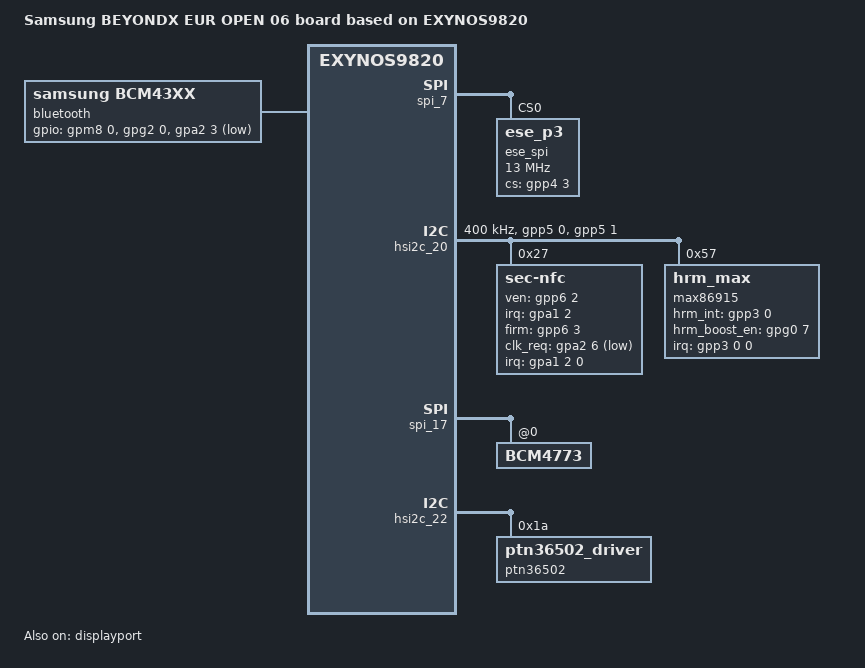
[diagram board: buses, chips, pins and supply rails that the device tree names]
/*
 * SAMSUNG EXYNOS9820 board device tree source
 *
 * Copyright (c) 2018 Samsung Electronics Co., Ltd.
 *		http://www.samsung.com
 *
 * This program is free software; you can redistribute it and/or modify
 * it under the terms of the GNU General Public License version 2 as
 * published by the Free Software Foundation.
*/

/dts-v1/;
/plugin/;
#include "exynos9820-sensorhub.dtsi"
#include "exynos9820-display-lcd.dtsi"
#include "battery_data_beyondxlte_common.dtsi"
#include "exynos9820-beyondx_motor.dtsi"
#include "exynos9820-beyondx_if-pmic-max77705.dtsi"
#include <dt-bindings/clock/exynos9820.h>
#include <dt-bindings/pci/pci.h>
#include "exynos9820-beyondx_camera.dtsi"
#include "exynos9820-beyondx_common.dtsi"
#include "exynos9820-beyondx_fingerprint_04.dtsi"
#include "exynos9820-beyondx_eur_open_gpio_00.dtsi"
#include "exynos9820-beyondlte_kor-tdmb-19.dtsi"
#include "exynos9820-beyondx_optics-r00.dtsi"

/ {
	compatible = "samsung,BEYONDX EUR OPEN 06", "samsung,EXYNOS9820";
	dtbo-hw_rev = <6>;
   	dtbo-hw_rev_end = <6>;

	fragment@model {
		target-path = "/";
		__overlay__ {
			#address-cells = <2>;
			#size-cells = <1>;

			model = "Samsung BEYONDX EUR OPEN 06 board based on EXYNOS9820";
			pinctrl@15850000 {
				bt_hostwake: bt-hostwake {
					samsung,pins = "gpa2-3";
					samsung,pin-function = <0>;
					samsung,pin-pud = <1>;
				};
			};
			pinctrl@10430000 {
				bt_btwake: bt-btwake {
					samsung,pins = "gpg2-0";
					samsung,pin-function = <1>;
					samsung,pin-pud = <0>;
					samsung,pin-con-pdn = <3>;
					samsung,pin-pud-pdn = <0>;
				};
			};
			pinctrl@15C30000 {
				bt_en: bt-en {
					samsung,pins = "gpm8-0";
					samsung,pin-function = <1>;
					samsung,pin-pud = <0>;
					samsung,pin-con-pdn = <3>;
					samsung,pin-pud-pdn = <0>;
				};

				s5100_ap2cp_wakeup: s5100_ap2cp_wakeup {
					samsung,pins = "gpm17-0";
					samsung,pin-con-pdn = <3>;
					samsung,pin-pud = <1>;
				};
			};
			bluetooth {
				compatible = "samsung,bcm43xx";
				gpios = <&gpm8 0 0   /*BT_EN*/
				&gpg2 0 0    /*BT_WAKE*/
				&gpa2 3 0xF    /*BT_HOST_WAKE*/ >;
				pinctrl-names = "default";
				pinctrl-0=<&bt_hostwake &bt_btwake &bt_en>;
				status = "okay";
			};
		}; /* end of __overlay__ */
	}; /* end of fragment */

	fragment@camera {
		target-path = "/";
		__overlay__ {
			/* Ultra Wide CAMERA */
			fimc_is_sensor_3p9: fimc-is_sensor_3p9@2D {
				gpio_mipi_sel = <&gpm9 0 0x1>; /* mipi sw sel */
			};
		}; /* end of __overlay__ */
	}; /* end of fragment */
}; /* end of root */

&pinctrl_6 {
	spi7_bus_suspend: spi7-bus-suspend {
		samsung,pins = "gpp4-2", "gpp4-1", "gpp4-0";
		samsung,pin-function = <0>;	/* INPUT */
		samsung,pin-pud = <1>;		/* DOWN */
		samsung,pin-drv = <0>;
	};
	spi7_cs_suspend: spi7-cs-suspend {
		samsung,pins = "gpp4-3";
		samsung,pin-function = <0>;	/* INPUT */
		samsung,pin-pud = <1>;		/* DOWN */
		samsung,pin-drv = <0>;
	};
};

/* SPI USI_PERIC1_USI06_SPI */
&spi_7 {
	status = "okay";
	/delete-property/ pinctrl-names;
	/delete-property/ pinctrl-0;
	pinctrl-names = "ese_active", "ese_suspend";
	pinctrl-0 = <&spi7_bus &spi7_cs>;
	pinctrl-1 = <&spi7_bus_suspend &spi7_cs_suspend>;

	ese_spi@0 {
		compatible = "ese_p3";
		reg = <0>;
		spi-max-frequency = <13000000>;
		gpio-controller;
		#gpio-cells = <2>;

		p3-vdd-1p8= "VDD_ESE_1P8";

		clocks = <&clock GATE_USI06_USI>, <&clock DOUT_CLK_PERIC1_USI06_USI>;
		clock-names = "pclk", "sclk";
		ese_p3,cs-gpio = <&gpp4 3 0>;

		controller-data {
			samsung,spi-feedback-delay = <0>;
			samsung,spi-chip-select-mode = <0>;
		};
	};
};

&pinctrl_6 {
	nfc_en: nfc-en {
		samsung,pins = "gpp6-2";
		samsung,pin-function = <1>;
		samsung,pin-pud = <0>;
		samsung,pin-con-pdn = <3>;
		samsung,pin-pud-pdn = <0>;
		};

	nfc_firm: nfc-firm {
		samsung,pins = "gpp6-3";
		samsung,pin-function = <1>;
		samsung,pin-pud = <0>;
		samsung,pin-con-pdn = <3>;
		samsung,pin-pud-pdn = <0>;
		};
};

&hsi2c_20 {
	gpios = <&gpp5 0 0 &gpp5 1 0>;
	status = "okay";
	clock-frequency = <400000>;

	sec-nfc@27 {
		compatible = "sec-nfc";
		reg = <0x27>;

		interrupts = <2 0 0>;
		interrupt-parent = <&gpa1>;
		pinctrl-names = "default";
		pinctrl-0 = <&nfc_en &nfc_firm>;

		sec-nfc,ven-gpio = <&gpp6 2 0>;
		sec-nfc,irq-gpio = <&gpa1 2 0>;
		sec-nfc,firm-gpio = <&gpp6 3 0>;
		sec-nfc,clk_req-gpio = <&gpa2 6 0xf>;
		sec-nfc,clk_use = <2>;
		sec-nfc,nfc_pvdd = "VDD_NFC_1P8";

		clocks = <&clock OSC_NFC>;
		clock-names = "oscclk_nfc";
		sec-nfc,nfc_ap_clk;
		sec-nfc,ldo_control;
	};

	max86915@57 {
		compatible = "hrm_max";
		reg = <0x57>;
		interrupt-parent = <&gpp3>;
		interrupts = <0 0 0>;
		pinctrl-names = "default", "sleep", "idle";
		pinctrl-0 = <&hrm_irq &hrm_en>;
		pinctrl-1 = <&hrm_irqsleep &hrm_ensleep>;
		pinctrl-2 = <&hrm_irqidle &hrm_enidle>;
		hrmsensor,hrm_int-gpio = <&gpp3 0 0>;
		hrmsensor,hrm_boost_en-gpio = <&gpg0 7 0>;
		hrmsensor,vdd_1p8 = "S2MPB02_LDO8";
		hrmsensor,i2c_1p8 = "VDD_NFC_1P8";
		hrmsensor,thd = <100000 100000>;
		hrmsensor,init_curr = <0x46 0x41 0x28 0x3c>;
	};
};

&pinctrl_5 {
	hrm_irq: hrm-irq {
		samsung,pins = "gpp3-0";
		samsung,pin-function = <0xf>;
		samsung,pin-pud = <0>;
		samsung,pin-drv = <3>;
	};

	hrm_irqsleep: hrm-irqsleep {
		samsung,pins = "gpp3-0";
		samsung,pin-con-pdn = <2>;
		samsung,pin-pud-pdn = <0>;
	};

	hrm_irqidle: hrm-irqidle {
		samsung,pins = "gpp3-0";
		samsung,pin-function = <0xf>;
		samsung,pin-pud = <0>;
		samsung,pin-drv = <3>;
	};

	hrm_en: hrm-en {
		samsung,pins = "gpg0-7";
		samsung,pin-function = <0>;
		samsung,pin-pud = <1>;
		samsung,pin-drv = <2>;
	};

	hrm_ensleep: hrm-ensleep {
		samsung,pins = "gpg0-7";
		samsung,pin-con-pdn = <2>;
		samsung,pin-pud-pdn = <1>;
	};

	hrm_enidle: hrm-enidle {
		samsung,pins = "gpg0-7";
		samsung,pin-function = <0>;
		samsung,pin-pud = <1>;
		samsung,pin-drv = <2>;
	};
};

&spi_17 {
	BCM4773@0 {
		ssp-acc-position = <4>;
		ssp-mag-position = <4>;
		ssp-mag-array = /bits/ 8 <100 82 15 28 211 230 255 106 216 54 190 193 2 102 255 89 254 216 198
					243 192 253 113 99 10 81 77>;
		ssp-thermi-up = /bits/ 16 <3257 3328 3188 3140 3082 3005 2917 2805 2689 2552 2406 2248 2075 1915 
					1744 1574 1422 1275 1131 988 874 763 664>;
		ssp-thermi-sub = /bits/ 16 <4095 4095 4095 4046 3842 3599 3346 3067 2782 2495 2217 1953 1710 1489
					1288 1111 962 826 712 601 521 451 383>;
	};
};

&displayport {
	status = "okay";
	dp,usb_con_sel = <&gpg0 4 0>;
};

&hsi2c_22 {
	status = "okay";
	ptn36502@1a {
		compatible = "ptn36502_driver";
		reg = <0x1a>;
		combo,con_sel = <&gpg0 4 0x0>;
	};
};
